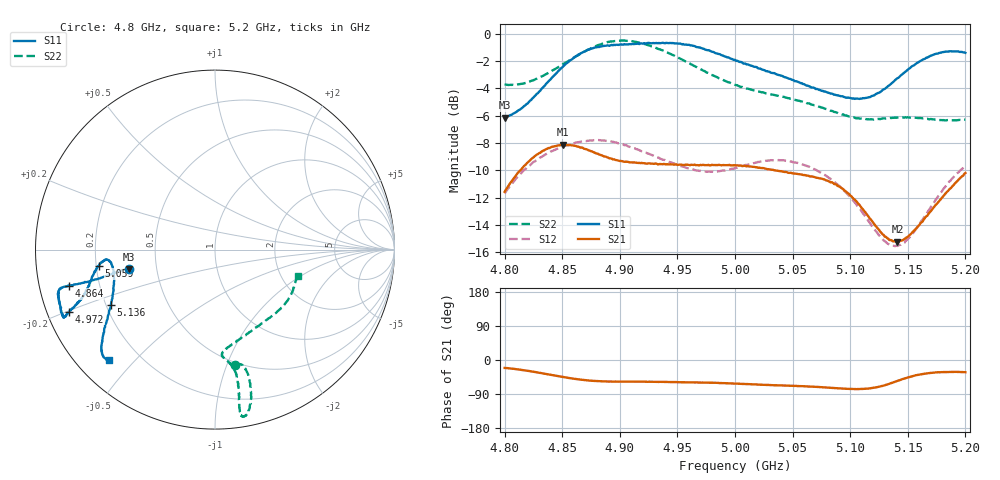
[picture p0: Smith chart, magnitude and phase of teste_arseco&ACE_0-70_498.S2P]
! Network Analyzer HP8722D
! Hewlett-Packard
! Data name: Linha & Wilkinson
! Saver's name: Rodrigo Anjos
! Comments: Teste da utilização de aquisição
! continua pelo VNA HP8722D
! Time and date: 8/5/2025 16:54
!  Frequency  S11  S21  S12  S22
# HZ  S  MA R 50
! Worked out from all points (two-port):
!   401 points, 4.8 GHz to 5.2 GHz, reference 50 ohm
!   highest |S21| = -8.13 dB at 4.851 GHz (marker M1); lowest = -15.2 dB at 5.141 GHz (marker M2)
!   |S21| within 3 dB of the highest: 4.803 GHz to 5.089 GHz (285.4 MHz wide, 5.77 % of centre); 5.189173 GHz to end of sweep
!   lowest |S11| = -6.1 dB at 4.8 GHz (marker M3), VSWR 2.95, Z = 17.1 - j4.92 ohm
!   |S11| at or under -10 dB: nowhere
!   |S22| runs from -6.3 to -0.5 dB; largest |S21 - S12| = 0.62
!   S11 on the Smith chart (normalised r, x): 4.8 GHz: 0.34, -0.10; 4.864 GHz: 0.09, -0.12; 4.972 GHz: 0.07, -0.20; 5.059 GHz: 0.21, -0.07; 5.136 GHz: 0.22, -0.24; 5.2 GHz: 0.09, -0.42
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4.8e9  0.4934 -167.3  0.2639 -21.0  0.2603 -142.0  0.6523 -80.1
4.826e9  0.5905 -166.7  0.3558 -31.5  0.3405 -146.3  0.6789 -75.9
4.851e9  0.7605 -165.9  0.3923 -45.1  0.3868 -150.7  0.7756 -75.3
4.864e9  0.8393 -166.1  0.3864 -50.9  0.4008 -152.7  0.8351 -76.2
4.867e9  0.8518 -166.0  0.3833 -52.1  0.4033 -153.2  0.8508 -76.3
4.88e9  0.8922 -165.8  0.3646 -55.6  0.4079 -155.1  0.9051 -77.7
4.902e9  0.9122 -162.5  0.3414 -57.1  0.3944 -157.5  0.944 -80.3
4.934e9  0.9251 -156.6  0.3329 -57.9  0.3516 -155.9  0.8778 -81.1
4.951e9  0.9213 -155.9  0.3313 -58.6  0.3298 -152.8  0.8165 -80.4
4.972e9  0.8824 -156.9  0.3312 -59.5  0.3136 -146.5  0.7342 -80.3
5e9  0.8026 -159.5  0.3298 -62.3  0.3224 -137.8  0.6502 -81.8
5.034e9  0.7179 -165.8  0.3164 -66.6  0.3445 -135.1  0.5965 -86.0
5.059e9  0.6544 -172.0  0.304 -69.2  0.3319 -137.2  0.5631 -84.5
5.067e9  0.6354 -173.4  0.3003 -70.3  0.3228 -138.0  0.5495 -82.7
5.083e9  0.6041 -174.6  0.2856 -73.5  0.2941 -139.4  0.5222 -76.4
5.102e9  0.579 -171.0  0.2512 -76.6  0.2468 -139.3  0.4944 -65.1
5.134e9  0.6479 -152.9  0.1757 -62.7  0.169 -118.2  0.4913 -42.8
5.136e9  0.6583 -151.9  0.1752 -60.7  0.1677 -115.7  0.4913 -41.5
5.141e9  0.6874 -149.3  0.1732 -55.1  0.1671 -109.1  0.4933 -38.8
5.153e9  0.7565 -144.6  0.1855 -43.7  0.1829 -94.5  0.4937 -32.5
5.174e9  0.8431 -138.6  0.2356 -32.8  0.2461 -80.5  0.4847 -23.8
5.2e9  0.8512 -133.9  0.3091 -32.1  0.3285 -77.8  0.4848 -17.7
